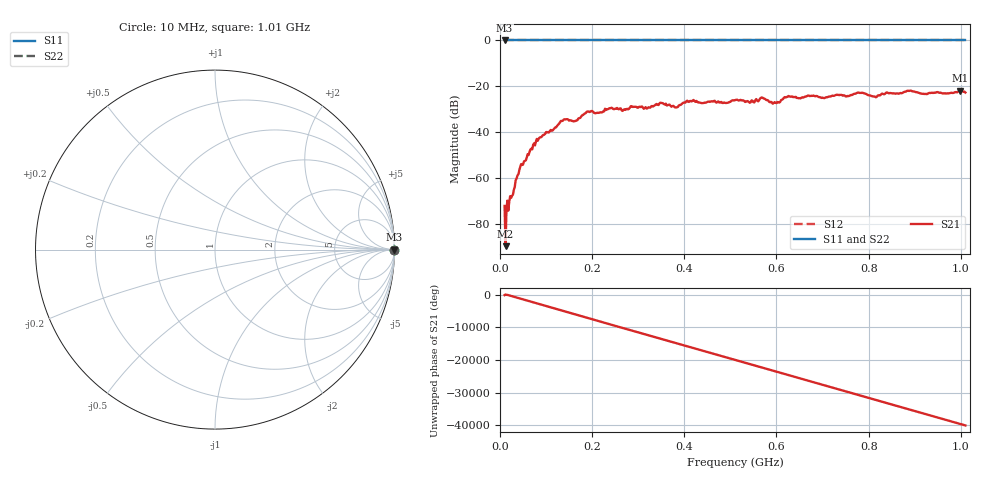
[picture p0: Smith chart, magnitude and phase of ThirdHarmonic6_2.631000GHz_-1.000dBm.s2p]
! 8/17/2025 5:53:09 AM
! C:\ANRITSUVNA\TEMP\TEMP.S2P
! CHANNEL.1
! TR.MEASUREMENT
! RAW.DATA
! RF.CORRECTION.OFF
! AVERAGING.OFF
! IF.BANDWIDTH: 5KHZ
! SWEEPTYPE:  FREQ.SWEEP(Linear)
! Reference Plane Port Info
! PORT:  PORT1  PORT2
! DISTANCE:  0  m  0  m
! TIME:  0  s  0  s
! PHASE.OFFSET:  0  deg.  0  deg.
! LOSS:  0  dB  0  dB
! REF.LOSS:  0  dB  0  dB
! REF.FREQ:  0  Hz  0  Hz
! Power Info
! POWER:  -20  dBm  -20  dBm
! EFF.POWER:  -20  dBm  -20  dBm
! SOURCE.ATTEN:  0  dB  0  dB
! TEST.ATTEN:  0  dB  0  dB
# GHZ S RI R 50.0
! FREQ.GHZ  S11RE  S11IM  S21RE  S21IM  S12RE  S12IM  S22RE  S22IM
!; PortSelection: Port_12
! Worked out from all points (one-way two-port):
!   501 points, 10 MHz to 1.01 GHz, reference 50 ohm
!   highest |S21| = -21.87 dB at 998 MHz (marker M1); lowest = -89.8 dB at 12 MHz (marker M2)
!   lowest |S11| = 0.0 dB at 10 MHz (marker M3)
!   |S11| at or under -10 dB: nowhere
!   |S22| runs from 0.0 to 0.0 dB; largest |S21 - S12| = 1.1
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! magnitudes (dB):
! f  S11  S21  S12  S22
! 10 MHz  0.0  -72.2  0.0  0.0
! 12 MHz  0.0  -89.8  0.0  0.0
! 16 MHz  0.0  -69.9  0.0  0.0
! 44 MHz  0.0  -55.0  0.0  0.0
! 76 MHz  0.0  -45.8  0.0  0.0
! 136 MHz  0.0  -35.1  0.0  0.0
! 164 MHz  0.0  -35.0  0.0  0.0
! 178 MHz  0.0  -32.7  0.0  0.0
! 240 MHz  0.0  -29.6  0.0  0.0
! 344 MHz  0.0  -28.2  0.0  0.0
! 382 MHz  0.0  -29.2  0.0  0.0
! 416 MHz  0.0  -26.6  0.0  0.0
! 510 MHz  0.0  -26.1  0.0  0.0
! 570 MHz  0.0  -25.0  0.0  0.0
! 596 MHz  0.0  -26.9  0.0  0.0
! 622 MHz  0.0  -24.7  0.0  0.0
! 678 MHz  0.0  -24.2  0.0  0.0
! 782 MHz  0.0  -22.9  0.0  0.0
! 814 MHz  0.0  -24.5  0.0  0.0
! 844 MHz  0.0  -23.0  0.0  0.0
! 998 MHz  0.0  -21.9  0.0  0.0
! 1.01 GHz  0.0  -22.7  0.0  0.0
